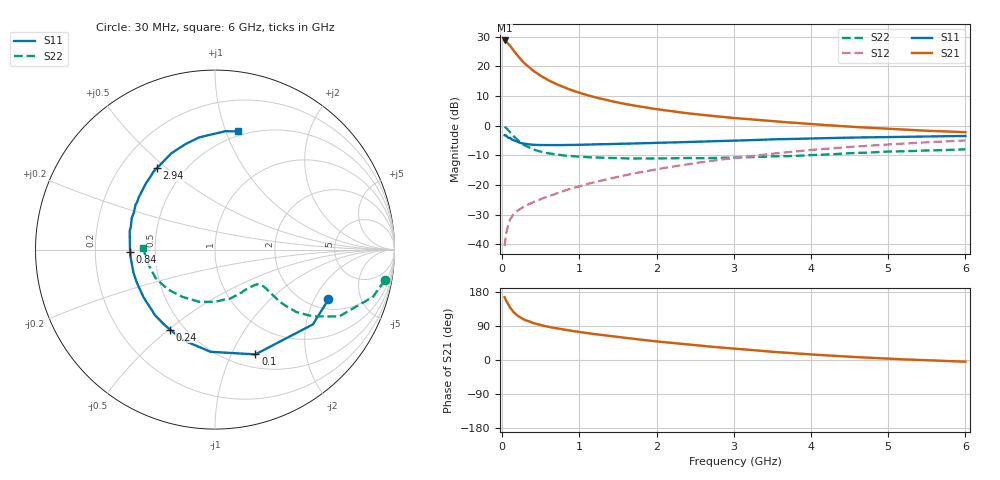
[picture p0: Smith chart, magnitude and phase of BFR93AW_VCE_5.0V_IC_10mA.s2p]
! Infineon Technologies  Discrete & RF Semiconductors
! BFR93AW
! VCE =  5.0 V,  IC =  10 mA
! Common Emitter S-Parameters:  Nov 2015
# GHz  S  MA  R  50
!  f  S11  S21  S12  S22
! GHz  MAG  ANG  MAG  ANG  MAG  ANG  MAG  ANG
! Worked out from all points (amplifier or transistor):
!   206 points, 30 MHz to 6 GHz, reference 50 ohm
!   highest |S21| = 28.8 dB at 30 MHz (marker M1)
!   |S21| within 3 dB of that: start of sweep to 134.5 MHz
!   unconditionally stable (mu >= 1): 749.5 MHz to 2.199 GHz
!   at 200 MHz: K = 0.49, MSG = 26.1 dB, |S12| = -28.6 dB
!   at 1.56 GHz: K = 1.06, MAG = 10.7 dB, |S12| = -16.9 dB
!   at 6 GHz: K = 0.90, MSG = 1.4 dB, |S12| = -5.0 dB
!   S11 on the Smith chart (normalised r, x): 30 MHz: 2.47, -2.61; 100 MHz: 0.65, -1.24; 240 MHz: 0.42, -0.51; 840 MHz: 0.36, -0.01; 2.94 GHz: 0.35, +0.47; 6 GHz: 0.46, +1.10
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0.03  0.6903 -23.7  27.39 165.7  0.0093 79.0  0.9614 -10.2
0.05  0.6863 -37.4  26.48 156.3  0.0152 74.4  0.9193 -16.6
0.1  0.6255 -68.9  22.38 138.1  0.0262 62.6  0.7857 -28.3
0.15  0.5699 -92.5  18.21 125.3  0.0326 56.2  0.6601 -34.3
0.2  0.5353 -109.0  15.08 116.5  0.037 53.4  0.5709 -37.5
0.24  0.5115 -119.4  13.14 111.5  0.0401 52.7  0.5173 -38.3
0.26  0.5046 -124.1  12.31 109.1  0.0416 52.6  0.495 -38.6
0.3  0.4959 -132.1  10.91 105.0  0.0444 52.8  0.4593 -38.8
0.4  0.4784 -146.5  8.443 97.6  0.0512 55.2  0.3982 -38.0
0.5  0.4726 -156.9  6.903 91.9  0.0581 57.2  0.3622 -37.4
0.6  0.4722 -164.2  5.811 87.5  0.0647 59.5  0.3418 -37.1
0.7  0.4705 -170.7  5.034 83.7  0.0722 61.1  0.3273 -37.5
0.84  0.4733 -178.2  4.24 78.9  0.0829 63.1  0.3108 -38.6
1.04  0.4776 173.4  3.461 72.7  0.0984 65.1  0.2987 -41.1
1.2  0.4864 167.7  3.017 68.2  0.1119 66.0  0.2918 -43.9
1.5  0.4963 159.3  2.455 60.6  0.1377 66.7  0.2848 -50.2
2.02  0.5159 145.2  1.886 48.6  0.1858 65.6  0.2812 -63.7
2.94  0.5576 125.3  1.373 31.1  0.2784 60.1  0.2895 -88.6
3.1  0.5643 122.0  1.317 28.5  0.2947 58.7  0.2918 -93.7
4.1  0.6133 104.2  1.045 13.4  0.3991 48.7  0.3225 -127.7
5.1  0.6464 89.9  0.874 2.5  0.492 37.2  0.3683 -157.2
6  0.6706 79.2  0.778 -4.4  0.564 26.9  0.4004 178.7
